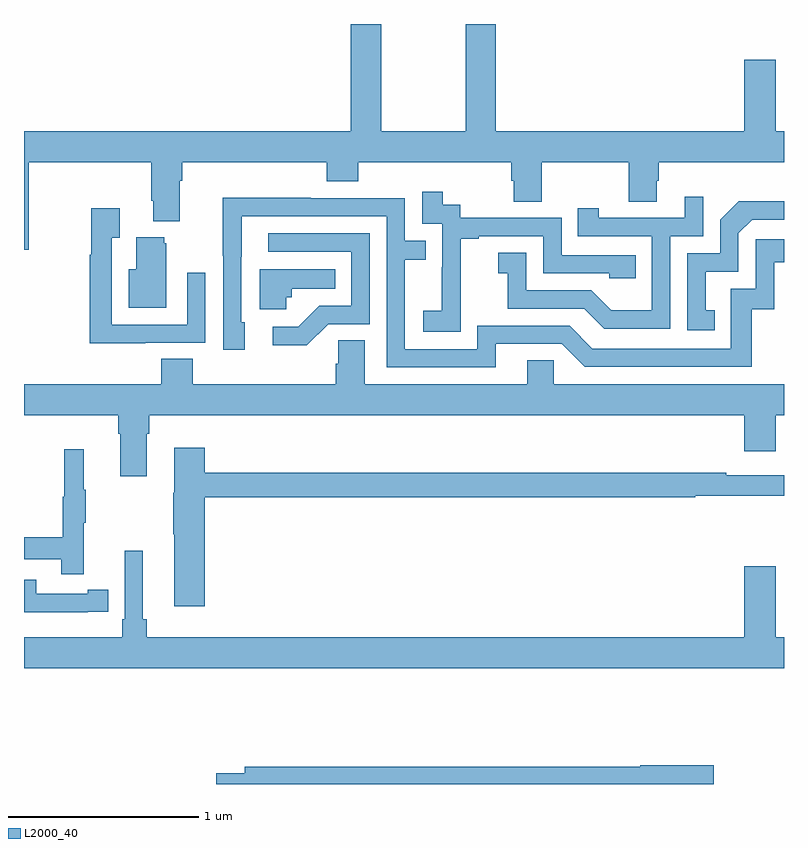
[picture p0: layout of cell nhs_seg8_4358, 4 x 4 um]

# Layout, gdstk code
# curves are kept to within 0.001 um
import gdstk
lib = gdstk.Library(unit=1e-6, precision=1e-09)
def P(c, l, *ps):  # polygons
    for p in ps: c.add(gdstk.Polygon(p, *l))
L2000_40 = (2000, 40)

nhs_seg8_4358 = lib.new_cell('nhs_seg8_4358')
P(nhs_seg8_4358, L2000_40, [(379.565,1111.074),(379.577,1111.074),(379.577,1110.964),(379.725,1110.964),(379.725,1111.172),(380.182,1111.172),(380.182,1110.964),(380.329,1110.964),(380.329,1111.074),(380.342,1111.074),(380.342,1111.172),(381,1111.172),(381,1111.336),(380.956,1111.336),(380.956,1111.711),(380.792,1111.711),(380.792,1111.336),(379.484,1111.336),(379.484,1111.9),(379.324,1111.9),(379.324,1111.336),(378.879,1111.336),(378.879,1111.9),(378.719,1111.9),(378.719,1111.336),(377,1111.336),(377,1110.711),(377.025,1110.711),(377.025,1111.172),(377.669,1111.172),(377.669,1110.97),(377.681,1110.97),(377.681,1110.863),(377.821,1110.863),(377.821,1111.076),(377.834,1111.076),(377.834,1111.172),(378.593,1111.172),(378.593,1111.073),(378.758,1111.073),(378.758,1111.172),(379.565,1111.172)],
  [(379.299,1110.487),(379.298,1110.487),(379.298,1110.771),(379.393,1110.771),(379.393,1110.783),(379.734,1110.783),(379.734,1110.588),(380.079,1110.588),(380.079,1110.561),(380.219,1110.561),(380.219,1110.684),(379.83,1110.684),(379.83,1110.879),(379.296,1110.879),(379.296,1110.948),(379.204,1110.948),(379.204,1111.018),(379.095,1111.018),(379.095,1110.849),(379.2,1110.849),(379.2,1110.62),(379.199,1110.62),(379.199,1110.391),(379.101,1110.391),(379.101,1110.281),(379.299,1110.281)],
  [(380.4,1110.783),(380.574,1110.783),(380.574,1110.991),(380.477,1110.991),(380.477,1110.879),(380.026,1110.879),(380.026,1110.931),(379.915,1110.931),(379.915,1110.783),(380.304,1110.783),(380.304,1110.394),(380.09,1110.394),(379.986,1110.498),(379.644,1110.498),(379.644,1110.697),(379.497,1110.697),(379.497,1110.587),(379.546,1110.587),(379.546,1110.402),(379.949,1110.402),(380.054,1110.297),(380.4,1110.297)],
  [(379.483,1110.216),(379.83,1110.216),(379.95,1110.096),(380.83,1110.096),(380.83,1110.399),(380.948,1110.399),(380.948,1110.645),(381,1110.645),(381,1110.766),(380.85,1110.766),(380.85,1110.507),(380.721,1110.507),(380.721,1110.192),(379.992,1110.192),(379.872,1110.312),(379.386,1110.312),(379.386,1110.189),(379.005,1110.189),(379.005,1110.658),(379.115,1110.658),(379.115,1110.759),(379.005,1110.759),(379.005,1110.984),(378.509,1110.984),(378.509,1110.986),(378.046,1110.986),(378.046,1110.679),(378.048,1110.679),(378.048,1110.186),(378.163,1110.186),(378.163,1110.33),(378.144,1110.33),(378.145,1110.888),(378.909,1110.888),(378.909,1110.093),(379.483,1110.093)],
  [(380.636,1110.393),(380.587,1110.393),(380.587,1110.597),(380.76,1110.597),(380.76,1110.798),(380.832,1110.87),(381,1110.87),(381,1110.968),(380.762,1110.968),(380.664,1110.87),(380.664,1110.693),(380.49,1110.693),(380.49,1110.288),(380.636,1110.288)],
  [(377.639,1110.222),(377.955,1110.222),(377.955,1110.592),(377.859,1110.592),(377.859,1110.318),(377.463,1110.318),(377.463,1110.775),(377.503,1110.775),(377.503,1110.931),(377.355,1110.931),(377.355,1110.686),(377.347,1110.686),(377.347,1110.221),(377.639,1110.221)],
  [(378.6,1110.321),(378.819,1110.321),(378.819,1110.798),(378.285,1110.798),(378.285,1110.702),(378.723,1110.702),(378.723,1110.417),(378.554,1110.417),(378.443,1110.306),(378.309,1110.306),(378.309,1110.209),(378.487,1110.209)],
  [(377.749,1110.747),(377.738,1110.747),(377.738,1110.778),(377.591,1110.778),(377.591,1110.61),(377.552,1110.61),(377.552,1110.407),(377.749,1110.407)],
  [(378.381,1110.462),(378.408,1110.462),(378.408,1110.506),(378.638,1110.506),(378.638,1110.61),(378.242,1110.61),(378.242,1110.398),(378.381,1110.398)],
  [(377.647,1109.744),(377.66,1109.744),(377.66,1109.84),(380.792,1109.84),(380.792,1109.652),(380.956,1109.652),(380.956,1109.84),(381,1109.84),(381,1110.004),(379.788,1110.004),(379.788,1110.131),(379.649,1110.131),(379.649,1110.004),(378.793,1110.004),(378.793,1110.236),(378.654,1110.236),(378.654,1110.113),(378.641,1110.113),(378.641,1110.004),(377.888,1110.004),(377.888,1110.137),(377.723,1110.137),(377.723,1110.004),(377,1110.004),(377,1109.84),(377.495,1109.84),(377.495,1109.744),(377.507,1109.744),(377.507,1109.52),(377.647,1109.52)],
  [(377.951,1109.41),(380.532,1109.41),(380.532,1109.418),(381,1109.418),(381,1109.526),(380.696,1109.526),(380.696,1109.539),(377.951,1109.539),(377.951,1109.671),(377.792,1109.671),(377.792,1109.433),(377.785,1109.433),(377.785,1109.215),(377.792,1109.215),(377.792,1108.836),(377.951,1108.836)],
  [(377.315,1109.275),(377.326,1109.275),(377.326,1109.449),(377.315,1109.449),(377.315,1109.662),(377.212,1109.662),(377.212,1109.412),(377.205,1109.412),(377.205,1109.198),(377,1109.198),(377,1109.082),(377.197,1109.082),(377.197,1109.004),(377.315,1109.004)],
  [(381,1108.672),(380.956,1108.672),(380.956,1109.047),(380.792,1109.047),(380.792,1108.672),(377.645,1108.672),(377.645,1108.768),(377.626,1108.768),(377.626,1109.128),(377.529,1109.128),(377.529,1108.768),(377.516,1108.768),(377.516,1108.672),(377,1108.672),(377,1108.508),(381,1108.508)],
  [(377.336,1108.806),(377.444,1108.806),(377.444,1108.922),(377.336,1108.922),(377.336,1108.902),(377.064,1108.902),(377.064,1108.974),(377,1108.974),(377,1108.805),(377.336,1108.805)],
  [(380.629,1107.998),(380.244,1107.998),(380.244,1107.992),(378.161,1107.992),(378.161,1107.956),(378.012,1107.956),(378.012,1107.9),(380.629,1107.9)])

lib.write_gds('nhs_seg8_4358.gds')
